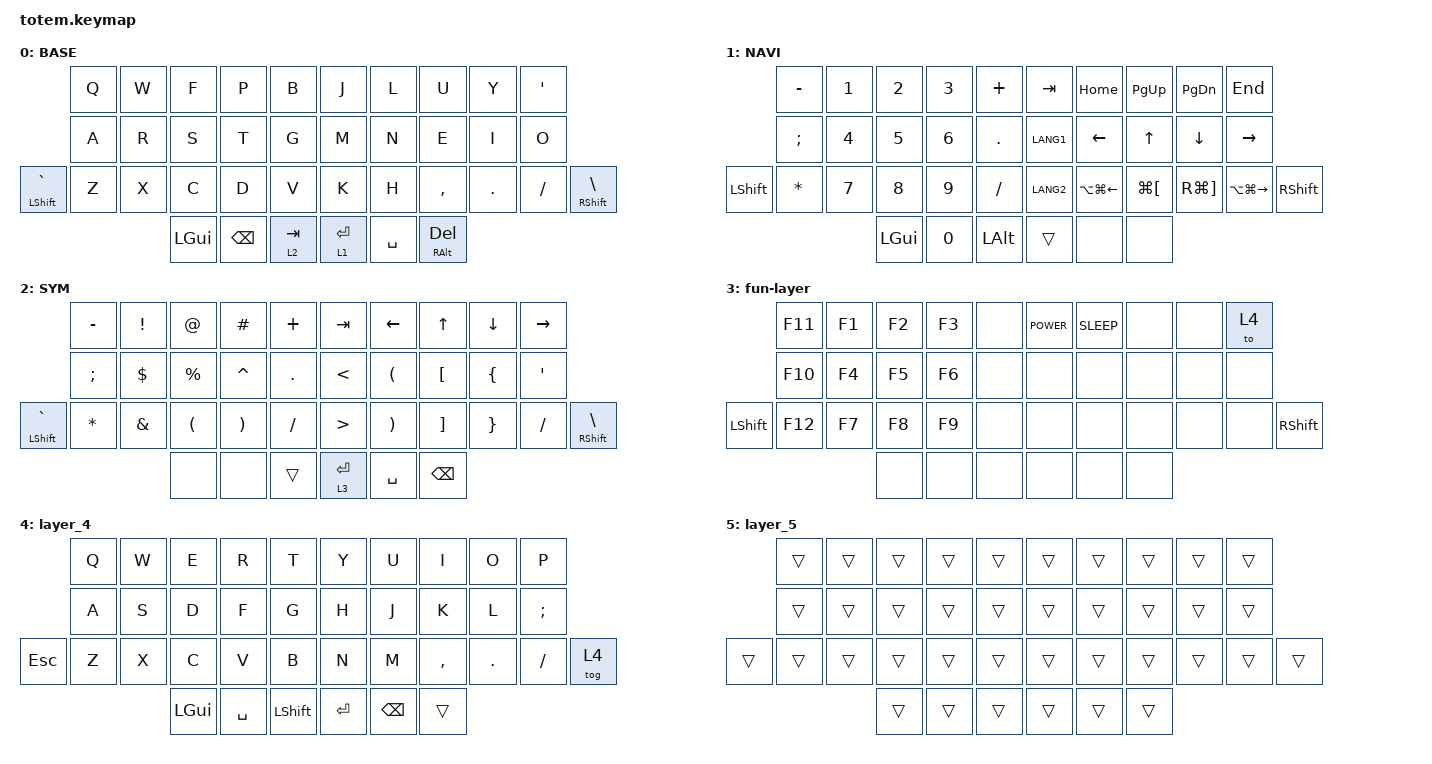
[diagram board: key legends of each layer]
//
//                                                        ▀▀▀▀▀     ▀▀▀▀▀          ▀▀█▀▀
//                                                        ▄▀▀▀▄  ▄  ▄▀▀▀▄  ▄  ▄▀▀▀▄  █  ▄▀▀▀▄
//                                                        █   █  █  █   █  █  █   █  █  █   █
//                                                         ▀▀▀   █   ▀▀▀   █   ▀▀▀   ▀   ▀▀▀
//                                                               █      ▄▄▄█▄▄▄    █   █  
//                                                               ▀      █  █  █     █▄█
//                                                             ▀▀▀▀▀    █  █  █      ▀
//                                                                      ▀  ▀  ▀
//
// ▄▄▄▄▄▄▄▄▄▄▄▄▄▄▄▄▄▄▄▄▄▄▄▄▄▄▄▄▄▄▄▄▄▄▄▄▄▄▄▄▄▄▄▄▄▄▄▄▄▄▄▄▄▄▄▄▄▄▄▄▄▄▄▄▄▄▄▄▄▄▄▄▄▄▄▄▄▄▄▄▄▄▄▄▄▄▄▄▄▄▄▄▄▄▄▄▄▄▄▄▄▄▄▄▄▄▄▄▄▄▄▄▄▄▄▄▄▄▄▄▄▄▄▄▄▄▄▄▄▄▄▄▄▄▄▄▄▄▄▄▄▄▄▄▄▄▄▄▄

#include <behaviors.dtsi>
#include <dt-bindings/zmk/keys.h>

#define BASE 0
#define NAV  1
#define SYM  2
#define ADJ  3
#define TVP1 4
#define TVP2 5

&mt {
    quick-tap-ms = <100>;
    global-quick-tap;
    flavor = "tap-preferred";
    tapping-term-ms = <170>;
};

&lt {
    tapping-term-ms = <170>;
    quick-tap-ms = <100>;
    flavor = "tap-preferred";
};

/ {
    combos {
        compatible = "zmk,combos";

        combo_esc {
            timeout-ms = <50>;
            key-positions = <0 1>;
            bindings = <&kp ESC>;
        };

        combo-semicoron {
            bindings = <&kp SEMICOLON>;
            key-positions = <28 29>;
        };

        combo-minus {
            bindings = <&kp MINUS>;
            key-positions = <27 28>;
        };

        combo-ins {
            bindings = <&kp INS>;
            key-positions = <7 8>;
        };
    };

    macros {
        gif: gif {
            label = "giphy";
            compatible = "zmk,behavior-macro";
            #binding-cells = <0>;
            bindings = <&macro_tap>, <&macro_press>, <&macro_release>;
        };
    };

    behaviors {
        new_behavior: new_behavior {
            compatible = "zmk,behavior-hold-tap";
            label = "NEW_BEHAVIOR";
            bindings = <&none>, <&none>;

            #binding-cells = <2>;
            tapping-term-ms = <32>;
            hold-trigger-key-positions = <34 33 32 35 36 37 31 20>;
        };
    };

    keymap {
        compatible = "zmk,keymap";

        // ▄▄▄▄▄▄▄▄▄▄▄▄▄▄▄▄▄▄▄▄▄▄▄▄▄▄▄▄▄▄▄▄▄▄▄▄▄▄▄▄▄▄▄▄▄▄▄▄▄▄▄▄▄▄▄▄▄▄▄▄▄▄▄▄▄▄▄▄▄▄▄▄▄▄▄▄▄▄▄▄▄▄▄▄▄▄▄▄▄▄▄▄▄▄▄▄▄▄▄▄▄▄▄▄▄▄▄▄▄▄▄▄▄▄▄▄▄▄▄▄▄▄▄▄▄▄▄▄▄▄▄▄▄▄▄▄▄▄▄▄▄▄▄▄▄▄▄▄▄

        base_layer {
            // ┏━━━━━━━━━━━━━━━━━━━━━━━━━━━━━━━━━━━━━━━┓

            label = "BASE";

            // ┗━━━━━━━━━━━━━━━━━━━━━━━━━━━━━━━━━━━━━━━┛
            //             ┏━━━━━━━━━━━┳━━━━━━━━━━━┳━━━━━━━━━━━┳━━━━━━━━━━━┳━━━━━━━━━━━┓   ┏━━━━━━━━━━━┳━━━━━━━━━━━┳━━━━━━━━━━━┳━━━━━━━━━━━┳━━━━━━━━━━━┓
            //             ┃     Q     ┃     W     ┃     F     ┃     P     ┃     G     ┃   ┃     J     ┃     L     ┃     U     ┃     Y     ┃     ;     ┃
            //             ┣━━━━━━━━━━━╋━━━━━━━━━━━╋━━━━━━━━━━━╋━━━━━━━━━━━╋━━━━━━━━━━━┫   ┣━━━━━━━━━━━╋━━━━━━━━━━━╋━━━━━━━━━━━╋━━━━━━━━━━━╋━━━━━━━━━━━┫
            //             ┃     A     ┃     R     ┃     S     ┃     T     ┃     D     ┃   ┃     H     ┃     N     ┃     E     ┃     I     ┃     O     ┃
            // ┏━━━━━━━━━━━╋━━━━━━━━━━━╋━━━━━━━━━━━╋━━━━━━━━━━━╋━━━━━━━━━━━╋━━━━━━━━━━━┫   ┣━━━━━━━━━━━╋━━━━━━━━━━━╋━━━━━━━━━━━╋━━━━━━━━━━━╋━━━━━━━━━━━╋━━━━━━━━━━━┓
            // ┃     Q     ┃     Z     ┃     X     ┃     C     ┃     V     ┃     B     ┃   ┃     K     ┃     M     ┃     ,     ┃     .     ┃     /     ┃     \     ┃
            // ┗━━━━━━━━━━━┻━━━━━━━━━━━┻━━━━━━━━━━━╋━━━━━━━━━━━╋━━━━━━━━━━━╋━━━━━━━━━━━┫   ┣━━━━━━━━━━━╋━━━━━━━━━━━╋━━━━━━━━━━━╋━━━━━━━━━━━┻━━━━━━━━━━━┻━━━━━━━━━━━┛
            //                                     ┃    DEL    ┃    TAB    ┃    SPC    ┃   ┃   ENTER   ┃           ┃   BSPC    ┃
            //                                     ┗━━━━━━━━━━━┻━━━━━━━━━━━┻━━━━━━━━━━━┛   ┗━━━━━━━━━━━┻━━━━━━━━━━━┻━━━━━━━━━━━┛

            bindings = <
                      &kp Q  &kp W  &kp F         &kp P          &kp B        &kp J        &kp L      &kp U                 &kp Y    &kp SQT
                      &kp A  &kp R  &kp S         &kp T          &kp G        &kp M        &kp N      &kp E                 &kp I    &kp O
&mt LEFT_SHIFT GRAVE  &kp Z  &kp X  &kp C         &kp D          &kp V        &kp K        &kp H      &kp COMMA             &kp DOT  &kp FSLH  &mt RIGHT_SHIFT BACKSLASH
                                    &kp LEFT_GUI  &kp BACKSPACE  &lt 2 TAB    &lt 1 ENTER  &kp SPACE  &mt RIGHT_ALT DELETE
            >;
        };

        // ▄▄▄▄▄▄▄▄▄▄▄▄▄▄▄▄▄▄▄▄▄▄▄▄▄▄▄▄▄▄▄▄▄▄▄▄▄▄▄▄▄▄▄▄▄▄▄▄▄▄▄▄▄▄▄▄▄▄▄▄▄▄▄▄▄▄▄▄▄▄▄▄▄▄▄▄▄▄▄▄▄▄▄▄▄▄▄▄▄▄▄▄▄▄▄▄▄▄▄▄▄▄▄▄▄▄▄▄▄▄▄▄▄▄▄▄▄▄▄▄▄▄▄▄▄▄▄▄▄▄▄▄▄▄▄▄▄▄▄▄▄▄▄▄▄▄▄▄▄

        nav_layer {
            // ┏━━━━━━━━━━━━━━━━━━━━━━━━━━━━━━━━━━━━━━━┓

            label = "NAVI";

            // ┗━━━━━━━━━━━━━━━━━━━━━━━━━━━━━━━━━━━━━━━┛
            //             ┏━━━━━━━━━━━┳━━━━━━━━━━━┳━━━━━━━━━━━┳━━━━━━━━━━━┳━━━━━━━━━━━┓   ┏━━━━━━━━━━━┳━━━━━━━━━━━┳━━━━━━━━━━━┳━━━━━━━━━━━┳━━━━━━━━━━━┓
            //             ┃           ┃           ┃     UP    ┃           ┃     {     ┃   ┃     }     ┃     7     ┃     8     ┃     9     ┃     +     ┃
            //             ┣━━━━━━━━━━━╋━━━━━━━━━━━╋━━━━━━━━━━━╋━━━━━━━━━━━╋━━━━━━━━━━━┫   ┣━━━━━━━━━━━╋━━━━━━━━━━━╋━━━━━━━━━━━╋━━━━━━━━━━━╋━━━━━━━━━━━┫
            //             ┃   SHIFT   ┃   LEFT    ┃    DOWN   ┃   RIGHT   ┃     [     ┃   ┃     ]     ┃     4     ┃     5     ┃     6     ┃     -     ┃
            // ┏━━━━━━━━━━━╋━━━━━━━━━━━╋━━━━━━━━━━━╋━━━━━━━━━━━╋━━━━━━━━━━━╋━━━━━━━━━━━┫   ┣━━━━━━━━━━━╋━━━━━━━━━━━╋━━━━━━━━━━━╋━━━━━━━━━━━╋━━━━━━━━━━━╋━━━━━━━━━━━┓
            // ┃           ┃           ┃   P UP    ┃  C LOCK   ┃  P DOWN   ┃     (     ┃   ┃     )     ┃     1     ┃     2     ┃     3     ┃     *     ┃           ┃
            // ┗━━━━━━━━━━━┻━━━━━━━━━━━┻━━━━━━━━━━━╋━━━━━━━━━━━╋━━━━━━━━━━━╋━━━━━━━━━━━┫   ┣━━━━━━━━━━━╋━━━━━━━━━━━╋━━━━━━━━━━━╋━━━━━━━━━━━┻━━━━━━━━━━━┻━━━━━━━━━━━┛
            //                                     ┃           ┃    TAB    ┃    SPC    ┃   ┃    DEL    ┃     0     ┃           ┃
            //                                     ┗━━━━━━━━━━━┻━━━━━━━━━━━┻━━━━━━━━━━━┛   ┗━━━━━━━━━━━┻━━━━━━━━━━━┻━━━━━━━━━━━┛

            bindings = <
                &kp MINUS      &kp NUMBER_1  &kp NUMBER_2  &kp NUMBER_3  &kp PLUS        &kp TAB    &kp HOME          &kp PAGE_UP           &kp PAGE_DOWN          &kp END
                &kp SEMICOLON  &kp NUMBER_4  &kp N5        &kp NUMBER_6  &kp PERIOD      &kp LANG1  &kp LEFT_ARROW    &kp UP_ARROW          &kp DOWN               &kp RIGHT_ARROW
&kp LEFT_SHIFT  &kp ASTRK      &kp N7        &kp N8        &kp N9        &kp SLASH       &kp LANG2  &kp LA(LG(LEFT))  &kp LG(LEFT_BRACKET)  &kp RG(RIGHT_BRACKET)  &kp LA(LG(RIGHT_ARROW))  &kp RIGHT_SHIFT
                                             &kp LEFT_GUI  &kp N0        &kp LEFT_ALT    &trans     &none             &none
            >;
        };

        // ▄▄▄▄▄▄▄▄▄▄▄▄▄▄▄▄▄▄▄▄▄▄▄▄▄▄▄▄▄▄▄▄▄▄▄▄▄▄▄▄▄▄▄▄▄▄▄▄▄▄▄▄▄▄▄▄▄▄▄▄▄▄▄▄▄▄▄▄▄▄▄▄▄▄▄▄▄▄▄▄▄▄▄▄▄▄▄▄▄▄▄▄▄▄▄▄▄▄▄▄▄▄▄▄▄▄▄▄▄▄▄▄▄▄▄▄▄▄▄▄▄▄▄▄▄▄▄▄▄▄▄▄▄▄▄▄▄▄▄▄▄▄▄▄▄▄▄▄▄

        sim_layer {
            // ┏━━━━━━━━━━━━━━━━━━━━━━━━━━━━━━━━━━━━━━━┓

            label = "SYM";

            // ┗━━━━━━━━━━━━━━━━━━━━━━━━━━━━━━━━━━━━━━━┛
            //             ┏━━━━━━━━━━━┳━━━━━━━━━━━┳━━━━━━━━━━━┳━━━━━━━━━━━┳━━━━━━━━━━━┓   ┏━━━━━━━━━━━┳━━━━━━━━━━━┳━━━━━━━━━━━┳━━━━━━━━━━━┳━━━━━━━━━━━┓
            //             ┃     !     ┃     @     ┃     #     ┃     $     ┃     %     ┃   ┃     ˆ     ┃     &     ┃     Ü     ┃     '     ┃     "     ┃
            //             ┣━━━━━━━━━━━╋━━━━━━━━━━━╋━━━━━━━━━━━╋━━━━━━━━━━━╋━━━━━━━━━━━┫   ┣━━━━━━━━━━━╋━━━━━━━━━━━╋━━━━━━━━━━━╋━━━━━━━━━━━╋━━━━━━━━━━━┫
            //             ┃     Ä     ┃           ┃    SZ     ┃           ┃           ┃   ┃   MUTE    ┃   YEN     ┃   EURO    ┃  POUND    ┃     Ö     ┃
            // ┏━━━━━━━━━━━╋━━━━━━━━━━━╋━━━━━━━━━━━╋━━━━━━━━━━━╋━━━━━━━━━━━╋━━━━━━━━━━━┫   ┣━━━━━━━━━━━╋━━━━━━━━━━━╋━━━━━━━━━━━╋━━━━━━━━━━━╋━━━━━━━━━━━╋━━━━━━━━━━━┓
            // ┃           ┃  EMAIL1   ┃  EMAIL2   ┃           ┃           ┃           ┃   ┃   VOL-    ┃   VOL+    ┃   LAST    ┃   NEXT    ┃     \     ┃           ┃
            // ┗━━━━━━━━━━━┻━━━━━━━━━━━┻━━━━━━━━━━━╋━━━━━━━━━━━╋━━━━━━━━━━━╋━━━━━━━━━━━┫   ┣━━━━━━━━━━━╋━━━━━━━━━━━╋━━━━━━━━━━━╋━━━━━━━━━━━┻━━━━━━━━━━━┻━━━━━━━━━━━┛
            //                                     ┃           ┃    GIF    ┃    ADJ    ┃   ┃           ┃           ┃           ┃
            //                                     ┗━━━━━━━━━━━┻━━━━━━━━━━━┻━━━━━━━━━━━┛   ┗━━━━━━━━━━━┻━━━━━━━━━━━┻━━━━━━━━━━━┛

            bindings = <
                      &kp MINUS      &kp EXCL       &kp AT                &kp HASH   &kp PLUS      &kp TAB           &kp LEFT_ARROW         &kp UP_ARROW      &kp DOWN_ARROW  &kp RIGHT_ARROW
                      &kp SEMICOLON  &kp DOLLAR     &kp PERCENT           &kp CARET  &kp PERIOD    &kp LESS_THAN     &kp LPAR               &kp LEFT_BRACKET  &kp LEFT_BRACE  &kp SINGLE_QUOTE
&mt LEFT_SHIFT GRAVE  &kp ASTRK      &kp AMPERSAND  &kp LEFT_PARENTHESIS  &kp RPAR   &kp SLASH     &kp GREATER_THAN  &kp RIGHT_PARENTHESIS  &kp RBKT          &kp RBRC        &kp SLASH         &mt RIGHT_SHIFT BACKSLASH
                                                    &none                 &none      &trans        &lt 3 ENTER       &kp SPACE              &kp BACKSPACE
            >;
        };

        fun-layer {
            bindings = <
                &kp F11  &kp F1  &kp F2  &kp F3  &none    &kp C_POWER  &kp C_SLEEP  &none  &none  &to 4
                &kp F10  &kp F4  &kp F5  &kp F6  &none    &none        &none        &none  &none  &none
&kp LEFT_SHIFT  &kp F12  &kp F7  &kp F8  &kp F9  &none    &none        &none        &none  &none  &none  &kp RIGHT_SHIFT
                                 &none   &none   &none    &none        &none        &none
            >;
        };

        layer_4 {
            bindings = <
         &kp Q  &kp W  &kp E     &kp R      &kp T        &kp Y      &kp U          &kp I      &kp O    &kp P
         &kp A  &kp S  &kp D     &kp F      &kp G        &kp H      &kp J          &kp K      &kp L    &kp SEMI
&kp ESC  &kp Z  &kp X  &kp C     &kp V      &kp B        &kp N      &kp M          &kp COMMA  &kp DOT  &kp FSLH  &tog 4
                       &kp LGUI  &kp SPACE  &kp LSHFT    &kp ENTER  &kp BACKSPACE  &trans
            >;
        };

        layer_5 {
            bindings = <
        &trans  &trans  &trans  &trans  &trans    &trans  &trans  &trans  &trans  &trans
        &trans  &trans  &trans  &trans  &trans    &trans  &trans  &trans  &trans  &trans
&trans  &trans  &trans  &trans  &trans  &trans    &trans  &trans  &trans  &trans  &trans  &trans
                        &trans  &trans  &trans    &trans  &trans  &trans
            >;
        };

        // ▄▄▄▄▄▄▄▄▄▄▄▄▄▄▄▄▄▄▄▄▄▄▄▄▄▄▄▄▄▄▄▄▄▄▄▄▄▄▄▄▄▄▄▄▄▄▄▄▄▄▄▄▄▄▄▄▄▄▄▄▄▄▄▄▄▄▄▄▄▄▄▄▄▄▄▄▄▄▄▄▄▄▄▄▄▄▄▄▄▄▄▄▄▄▄▄▄▄▄▄▄▄▄▄▄▄▄▄▄▄▄▄▄▄▄▄▄▄▄▄▄▄▄▄▄▄▄▄▄▄▄▄▄▄▄▄▄▄▄▄▄▄▄▄▄▄▄▄▄
        // ▄▄▄▄▄▄▄▄▄▄▄▄▄▄▄▄▄▄▄▄▄▄▄▄▄▄▄▄▄▄▄▄▄▄▄▄▄▄▄▄▄▄▄▄▄▄▄▄▄▄▄▄▄▄▄▄▄▄▄▄▄▄▄▄▄▄▄▄▄▄▄▄▄▄▄▄▄▄▄▄▄▄▄▄▄▄▄▄▄▄▄▄▄▄▄▄▄▄▄▄▄▄▄▄▄▄▄▄▄▄▄▄▄▄▄▄▄▄▄▄▄▄▄▄▄▄▄▄▄▄▄▄▄▄▄▄▄▄▄▄▄▄▄▄▄▄▄▄▄
        // ▄▄▄▄▄▄▄▄▄▄▄▄▄▄▄▄▄▄▄▄▄▄▄▄▄▄▄▄▄▄▄▄▄▄▄▄▄▄▄▄▄▄▄▄▄▄▄▄▄▄▄▄▄▄▄▄▄▄▄▄▄▄▄▄▄▄▄▄▄▄▄▄▄▄▄▄▄▄▄▄▄▄▄▄▄▄▄▄▄▄▄▄▄▄▄▄▄▄▄▄▄▄▄▄▄▄▄▄▄▄▄▄▄▄▄▄▄▄▄▄▄▄▄▄▄▄▄▄▄▄▄▄▄▄▄▄▄▄▄▄▄▄▄▄▄▄▄▄▄
    };
};
